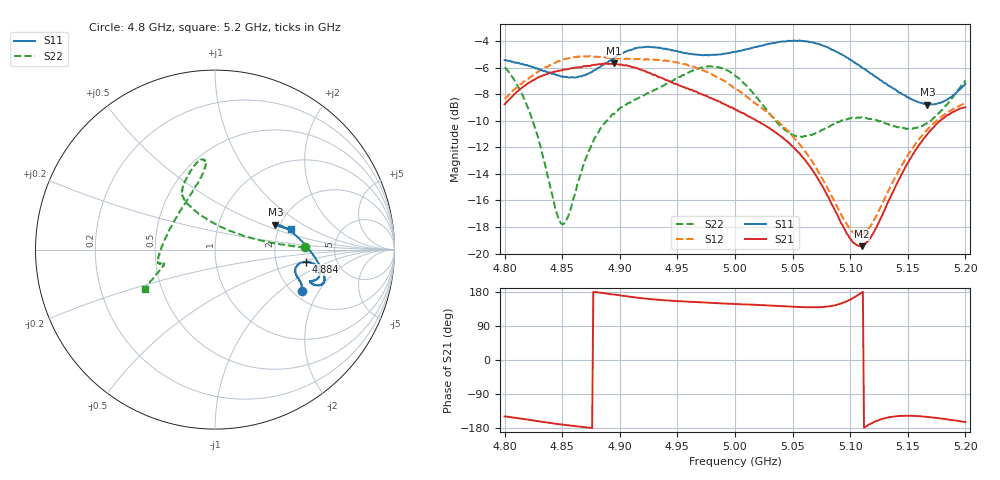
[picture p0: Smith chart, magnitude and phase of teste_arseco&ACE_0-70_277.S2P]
! Network Analyzer HP8722D
! Hewlett-Packard
! Data name: Linha & Wilkinson
! Saver's name: Rodrigo Anjos
! Comments: Teste da utilização de aquisição
! continua pelo VNA HP8722D
! Time and date: 8/5/2025 15:04
!  Frequency  S11  S21  S12  S22
# HZ  S  MA R 50
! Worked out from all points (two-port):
!   401 points, 4.8 GHz to 5.2 GHz, reference 50 ohm
!   highest |S21| = -5.67 dB at 4.895 GHz (marker M1); lowest = -19.4 dB at 5.11 GHz (marker M2)
!   |S21| within 3 dB of the highest: 4.801 GHz to 4.989 GHz (187.6 MHz wide, 3.83 % of centre)
!   lowest |S11| = -8.8 dB at 5.167 GHz (marker M3), VSWR 2.15, Z = 94.5 + j30.2 ohm
!   |S11| at or under -10 dB: nowhere
!   |S22| runs from -17.8 to -5.9 dB; largest |S21 - S12| = 1.1
!   S11 on the Smith chart (normalised r, x): 4.8 GHz: 2.24, -1.44; 4.884 GHz: 2.96, -0.55; 5.2 GHz: 2.33, +0.65
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4.8e9  0.5354 -25.3  0.3646 -149.0  0.383 10.4  0.5024 1.5
4.812e9  0.5226 -22.2  0.4108 -153.7  0.4284 8.8  0.4239 2.7
4.823e9  0.5074 -20.4  0.4453 -158.7  0.4645 7.2  0.3288 6.2
4.845e9  0.4705 -16.8  0.4857 -168.4  0.5254 3.7  0.143 41.9
4.849e9  0.4641 -15.8  0.4901 -170.0  0.5331 3.0  0.1298 59.0
4.855e9  0.4607 -14.4  0.4958 -172.4  0.5429 2.0  0.1374 84.9
4.867e9  0.4647 -10.8  0.5036 -176.4  0.5519 0.4  0.2055 112.0
4.884e9  0.5091 -7.7  0.5162 177.2  0.5482 -0.9  0.2988 120.8
4.895e9  0.5461 -8.0  0.5206 172.7  0.5429 -0.7  0.3349 121.3
4.914e9  0.5932 -11.3  0.4995 165.0  0.5403 -0.4  0.3811 118.7
4.934e9  0.5977 -15.6  0.4621 158.6  0.5369 -1.4  0.4205 112.8
4.975e9  0.5593 -18.5  0.3923 151.5  0.4845 -5.1  0.5056 99.3
5e9  0.576 -19.3  0.3501 147.6  0.4212 -5.2  0.4692 96.5
5.045e9  0.6319 -17.3  0.2654 141.4  0.2922 3.2  0.2896 132.8
5.067e9  0.6248 -13.2  0.2072 139.0  0.2223 9.4  0.2797 164.5
5.098e9  0.5456 -2.6  0.1175 156.5  0.1269 37.3  0.3215 -170.6
5.11e9  0.5042 2.9  0.1066 178.0  0.1176 61.3  0.3263 -167.2
5.119e9  0.4752 7.3  0.1173 -166.1  0.1296 78.3  0.3209 -166.2
5.134e9  0.4279 14.5  0.1599 -150.8  0.175 94.9  0.305 -165.8
5.167e9  0.3643 22.4  0.2815 -150.1  0.2934 102.4  0.3109 -161.3
5.183e9  0.3777 20.2  0.3284 -156.2  0.3371 102.4  0.3612 -156.4
5.2e9  0.4359 15.0  0.3559 -163.6  0.3687 102.9  0.4491 -150.5
